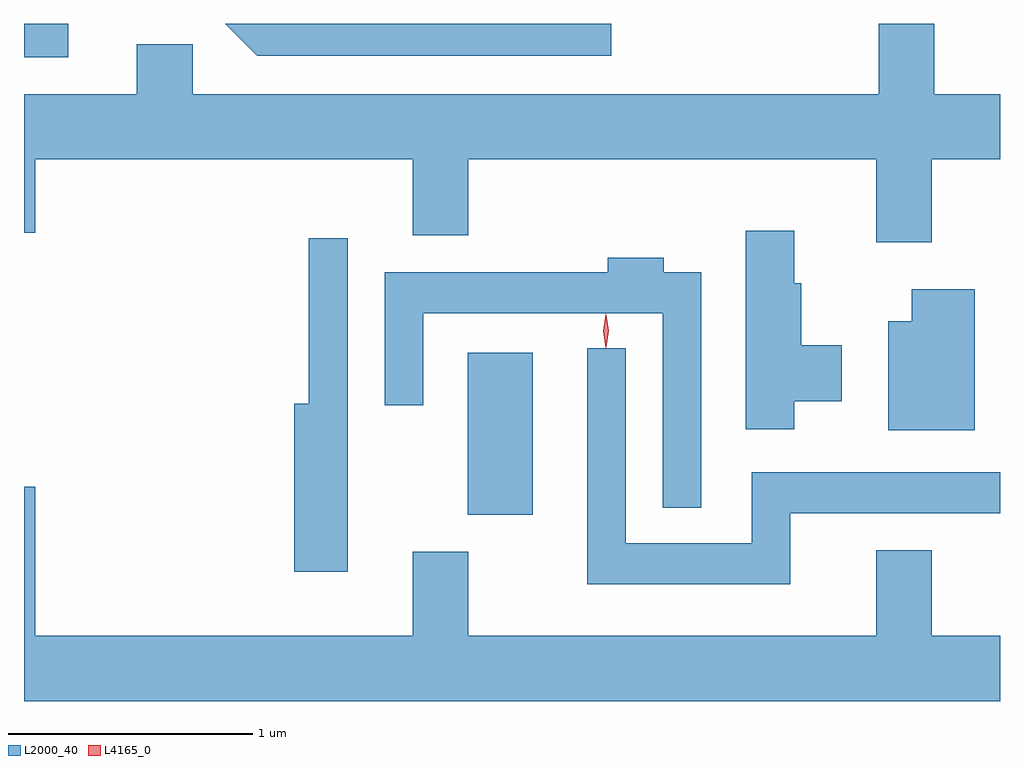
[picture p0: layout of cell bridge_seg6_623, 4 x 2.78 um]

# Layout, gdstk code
import gdstk
lib = gdstk.Library(unit=1e-6, precision=1e-09)
def R(c, l, rs):  # rectangles x0, y0, x1, y1
    for r in rs: c.add(gdstk.rectangle(r[:2], r[2:], *l))
def P(c, l, *ps):  # polygons
    for p in ps: c.add(gdstk.Polygon(p, *l))
L2000_40 = (2000, 40)
L4165_0 = (4165, 0)

bridge_seg6_623 = lib.new_cell('bridge_seg6_623')
R(bridge_seg6_623, L2000_40, [(396.936,1666.241,397.204,1666.904), (395.118,1668.116,395.299,1668.252)])
P(bridge_seg6_623, L2000_40, [(395.809,1668.169),(395.581,1668.169),(395.581,1667.964),(395.118,1667.964),(395.118,1667.396),(395.164,1667.396),(395.164,1667.696),(396.711,1667.696),(396.711,1667.386),(396.939,1667.386),(396.939,1667.696),(398.611,1667.696),(398.611,1667.356),(398.839,1667.356),(398.839,1667.696),(399.118,1667.696),(399.118,1667.964),(398.849,1667.964),(398.849,1668.252),(398.621,1668.252),(398.621,1667.964),(395.809,1667.964)],
  [(397.524,1668.252),(395.943,1668.252),(396.074,1668.121),(397.524,1668.121)],
  [(398.274,1666.706),(398.469,1666.706),(398.469,1666.934),(398.304,1666.934),(398.304,1667.189),(398.274,1667.189),(398.274,1667.404),(398.076,1667.404),(398.076,1666.591),(398.274,1666.591)],
  [(396.444,1667.373),(396.286,1667.373),(396.286,1666.694),(396.226,1666.694),(396.226,1666.006),(396.444,1666.006)],
  [(397.894,1667.234),(397.739,1667.234),(397.739,1667.294),(397.511,1667.294),(397.511,1667.234),(396.596,1667.234),(396.596,1666.688),(396.754,1666.688),(396.754,1667.066),(397.736,1667.066),(397.736,1666.268),(397.894,1666.268)],
  [(399.014,1667.164),(398.756,1667.164),(398.756,1667.034),(398.661,1667.034),(398.661,1666.586),(399.014,1666.586)],
  [(398.259,1666.246),(399.118,1666.246),(399.118,1666.414),(398.101,1666.414),(398.101,1666.124),(397.584,1666.124),(397.584,1666.923),(397.426,1666.923),(397.426,1665.956),(398.259,1665.956)],
  [(399.118,1665.744),(398.839,1665.744),(398.839,1666.094),(398.611,1666.094),(398.611,1665.744),(396.939,1665.744),(396.939,1666.089),(396.711,1666.089),(396.711,1665.744),(395.164,1665.744),(395.164,1666.354),(395.118,1666.354),(395.118,1665.476),(399.118,1665.476)])
P(bridge_seg6_623, L4165_0, [(397.502,1666.924),(397.502,1666.924),(397.492,1666.993),(397.502,1667.062),(397.502,1667.063),(397.503,1667.062),(397.512,1666.993),(397.503,1666.924)],
  [(397.504,1666.927),(397.504,1666.927),(397.494,1666.994),(397.504,1667.06),(397.504,1667.06),(397.505,1667.06),(397.514,1666.994),(397.505,1666.927)])

lib.write_gds('bridge_seg6_623.gds')
